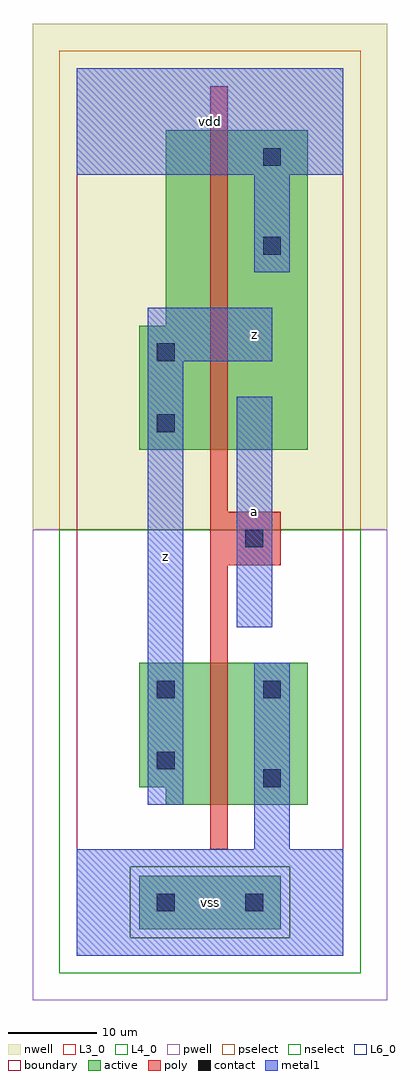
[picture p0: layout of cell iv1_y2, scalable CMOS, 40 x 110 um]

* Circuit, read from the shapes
.subckt iv1_y2 a vdd vss z
M1 vss a z vss nfet w=16u l=2u
M2 vdd a z n1 pfet w=36u l=2u
.ends

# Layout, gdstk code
import gdstk
lib = gdstk.Library(unit=1e-6, precision=1e-09)
def R(c, l, rs):  # rectangles x0, y0, x1, y1
    for r in rs: c.add(gdstk.rectangle(r[:2], r[2:], *l))
L3_0 = (3, 0)
L4_0 = (4, 0)
L6_0 = (6, 0)
contact = (25, 0)
pwell = (41, 0)
nwell = (42, 0)
active = (43, 0)
pselect = (44, 0)
nselect = (45, 0)
poly = (46, 0)
metal1 = (49, 0)
boundary = (63, 0)

iv1_y2 = lib.new_cell('iv1_y2')
R(iv1_y2, L3_0, [(10,17,26,19), (7,19,26,33)])
R(iv1_y2, L4_0, [(7,57,26,71), (10,71,26,93)])
R(iv1_y2, L6_0, [(7,3,23,9)])
R(iv1_y2, contact, [(9,5,11,7), (19,5,21,7), (21,19,23,21), (9,21,11,23), (9,29,11,31), (21,29,23,31), (19,46,21,48), (9,59,11,61), (9,67,11,69), (21,79,23,81), (21,89,23,91)])
R(iv1_y2, pwell, [(-5,-5,35,48)])
R(iv1_y2, nwell, [(-5,48,35,105)])
R(iv1_y2, active, [(7,3,23,9), (10,17,26,19), (7,19,26,33), (7,57,26,71), (10,71,26,93)])
R(iv1_y2, pselect, [(6,2,24,10), (-2,48,32,102)])
R(iv1_y2, nselect, [(-2,-2,32,2), (-2,2,6,10), (24,2,32,10), (-2,10,32,48)])
R(iv1_y2, poly, [(15,12,17,44), (15,44,23,50), (15,50,17,98)])
R(iv1_y2, metal1, [(0,0,30,12), (20,12,24,33), (8,17,12,67), (18,37,22,63), (8,67,22,73), (20,77,24,88), (0,88,30,100)])
R(iv1_y2, boundary, [(0,0,30,100)])
iv1_y2.add(gdstk.Label('vss', (15,6), layer=49, texttype=0))
iv1_y2.add(gdstk.Label('z', (10,45), layer=49, texttype=0))
iv1_y2.add(gdstk.Label('vdd', (15,94), layer=49, texttype=0))
iv1_y2.add(gdstk.Label('a', (20,50), layer=49, texttype=0))
iv1_y2.add(gdstk.Label('z', (20,70), layer=49, texttype=0))

lib.write_gds('iv1_y2.gds')
